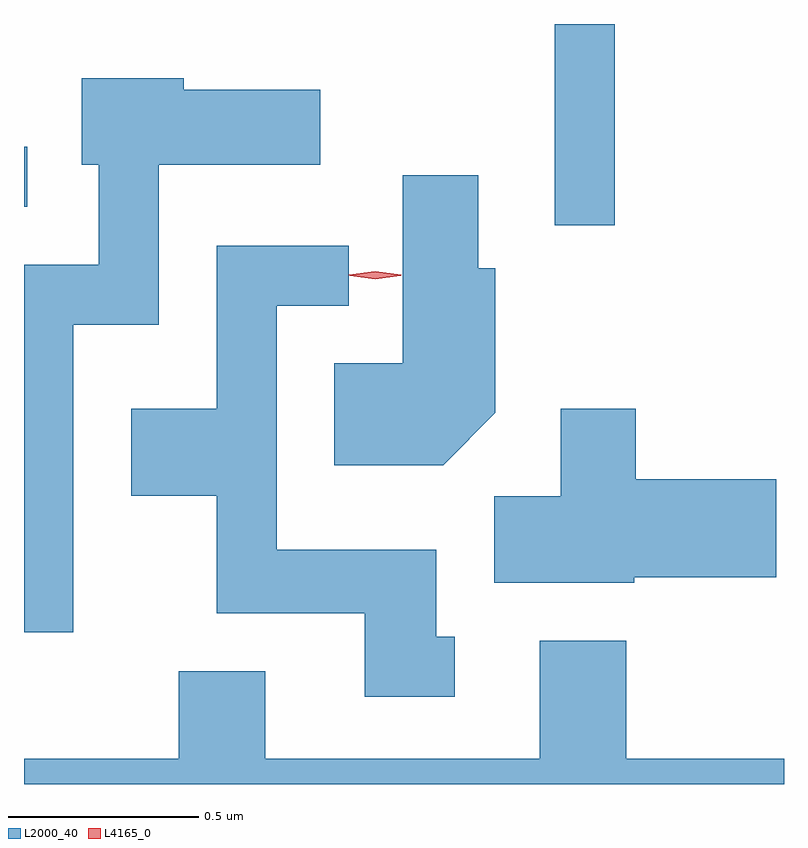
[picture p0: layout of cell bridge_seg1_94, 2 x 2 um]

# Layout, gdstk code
import gdstk
lib = gdstk.Library(unit=1e-6, precision=1e-09)
def R(c, l, rs):  # rectangles x0, y0, x1, y1
    for r in rs: c.add(gdstk.rectangle(r[:2], r[2:], *l))
def P(c, l, *ps):  # polygons
    for p in ps: c.add(gdstk.Polygon(p, *l))
L2000_40 = (2000, 40)
L4165_0 = (4165, 0)

bridge_seg1_94 = lib.new_cell('bridge_seg1_94')
R(bridge_seg1_94, L2000_40, [(1266.081,852.408,1266.239,852.937), (1264.684,852.456,1264.693,852.614)])
P(bridge_seg1_94, L2000_40, [(1264.814,852.146),(1265.039,852.146),(1265.039,852.566),(1265.464,852.566),(1265.464,852.764),(1265.104,852.764),(1265.104,852.794),(1264.836,852.794),(1264.836,852.566),(1264.881,852.566),(1264.881,852.304),(1264.684,852.304),(1264.684,851.336),(1264.814,851.336)],
  [(1265.924,851.914),(1265.924,852.294),(1265.879,852.294),(1265.879,852.539),(1265.681,852.539),(1265.681,852.044),(1265.501,852.044),(1265.501,851.776),(1265.787,851.776)],
  [(1265.818,851.324),(1265.769,851.324),(1265.769,851.554),(1265.349,851.554),(1265.349,852.196),(1265.538,852.196),(1265.538,852.354),(1265.191,852.354),(1265.191,851.924),(1264.966,851.924),(1264.966,851.696),(1265.191,851.696),(1265.191,851.386),(1265.581,851.386),(1265.581,851.166),(1265.818,851.166)],
  [(1266.29,851.481),(1266.664,851.481),(1266.664,851.739),(1266.294,851.739),(1266.294,851.924),(1266.096,851.924),(1266.096,851.694),(1265.921,851.694),(1265.921,851.466),(1266.29,851.466)],
  [(1266.684,851.004),(1266.269,851.004),(1266.269,851.314),(1266.041,851.314),(1266.041,851.004),(1265.319,851.004),(1265.319,851.234),(1265.091,851.234),(1265.091,851.004),(1264.684,851.004),(1264.684,850.937),(1266.684,850.937)])
P(bridge_seg1_94, L4165_0, [(1265.608,852.267),(1265.539,852.276),(1265.538,852.277),(1265.539,852.277),(1265.608,852.287),(1265.677,852.277),(1265.677,852.277),(1265.677,852.276)],
  [(1265.608,852.265),(1265.542,852.274),(1265.542,852.275),(1265.542,852.275),(1265.608,852.285),(1265.674,852.275),(1265.675,852.275),(1265.674,852.274)])

lib.write_gds('bridge_seg1_94.gds')
